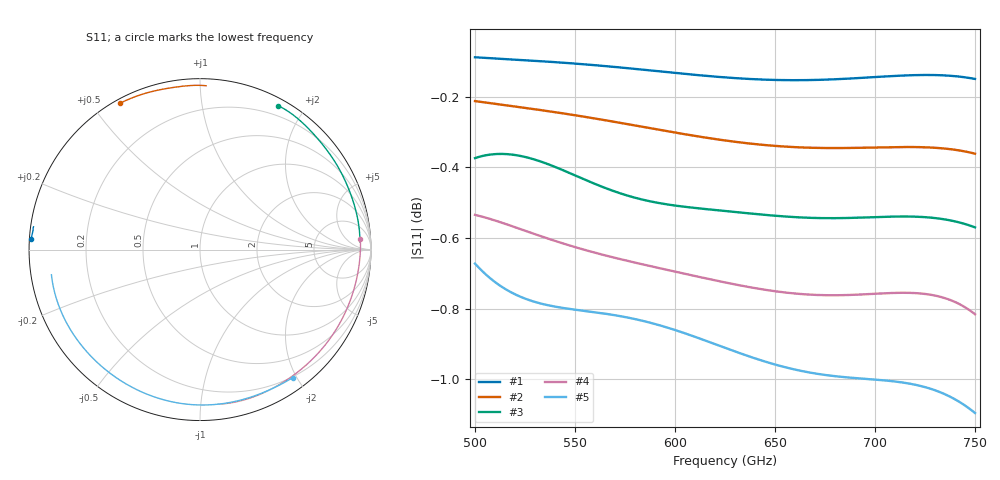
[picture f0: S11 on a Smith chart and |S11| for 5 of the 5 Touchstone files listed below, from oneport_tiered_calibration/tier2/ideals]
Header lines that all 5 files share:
!Created with skrf (http://scikit-rf.org).
# GHz S RI R 50.0
!freq ReS11 ImS11
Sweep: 500 GHz to 750 GHz
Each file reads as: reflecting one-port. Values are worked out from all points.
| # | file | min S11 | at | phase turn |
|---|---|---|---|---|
| 1 | ds1.s1p | -0.2 dB | 660 GHz | -4 deg |
| 2 | ds2.s1p | -0.4 dB | 750 GHz | -31 deg |
| 3 | ds3.s1p | -0.6 dB | 750 GHz | -59 deg |
| 4 | ds4.s1p | -0.8 dB | 750 GHz | -87 deg |
| 5 | ds5.s1p | -1.1 dB | 750 GHz | -116 deg |
